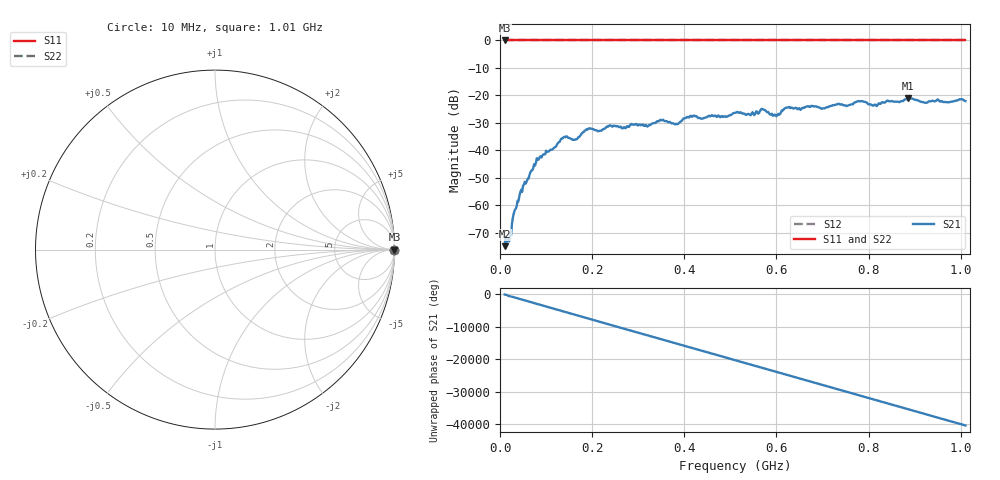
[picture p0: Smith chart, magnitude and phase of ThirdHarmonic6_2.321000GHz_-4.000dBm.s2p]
! 8/17/2025 3:17:26 AM
! C:\ANRITSUVNA\TEMP\TEMP.S2P
! CHANNEL.1
! TR.MEASUREMENT
! RAW.DATA
! RF.CORRECTION.OFF
! AVERAGING.OFF
! IF.BANDWIDTH: 5KHZ
! SWEEPTYPE:  FREQ.SWEEP(Linear)
! Reference Plane Port Info
! PORT:  PORT1  PORT2
! DISTANCE:  0  m  0  m
! TIME:  0  s  0  s
! PHASE.OFFSET:  0  deg.  0  deg.
! LOSS:  0  dB  0  dB
! REF.LOSS:  0  dB  0  dB
! REF.FREQ:  0  Hz  0  Hz
! Power Info
! POWER:  -20  dBm  -20  dBm
! EFF.POWER:  -20  dBm  -20  dBm
! SOURCE.ATTEN:  0  dB  0  dB
! TEST.ATTEN:  0  dB  0  dB
# GHZ S RI R 50.0
! FREQ.GHZ  S11RE  S11IM  S21RE  S21IM  S12RE  S12IM  S22RE  S22IM
!; PortSelection: Port_12
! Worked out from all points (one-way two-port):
!   501 points, 10 MHz to 1.01 GHz, reference 50 ohm
!   highest |S21| = -21.02 dB at 886 MHz (marker M1); lowest = -74.8 dB at 10 MHz (marker M2)
!   lowest |S11| = 0.0 dB at 10 MHz (marker M3)
!   |S11| at or under -10 dB: nowhere
!   |S22| runs from 0.0 to 0.0 dB; largest |S21 - S12| = 1.1
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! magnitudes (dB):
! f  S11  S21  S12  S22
! 10 MHz  0.0  -74.8  0.0  0.0
! 20 MHz  0.0  -73.1  0.0  0.0
! 30 MHz  0.0  -62.9  0.0  0.0
! 46 MHz  0.0  -54.3  0.0  0.0
! 82 MHz  0.0  -43.3  0.0  0.0
! 136 MHz  0.0  -35.6  0.0  0.0
! 162 MHz  0.0  -36.2  0.0  0.0
! 178 MHz  0.0  -33.7  0.0  0.0
! 192 MHz  0.0  -32.1  0.0  0.0
! 322 MHz  0.0  -31.0  0.0  0.0
! 344 MHz  0.0  -29.5  0.0  0.0
! 382 MHz  0.0  -30.3  0.0  0.0
! 416 MHz  0.0  -27.7  0.0  0.0
! 510 MHz  0.0  -26.3  0.0  0.0
! 570 MHz  0.0  -25.0  0.0  0.0
! 596 MHz  0.0  -26.9  0.0  0.0
! 624 MHz  0.0  -24.4  0.0  0.0
! 678 MHz  0.0  -23.8  0.0  0.0
! 814 MHz  0.0  -23.3  0.0  0.0
! 844 MHz  0.0  -22.1  0.0  0.0
! 886 MHz  0.0  -21.0  0.0  0.0
! 1.01 GHz  0.0  -22.0  0.0  0.0
